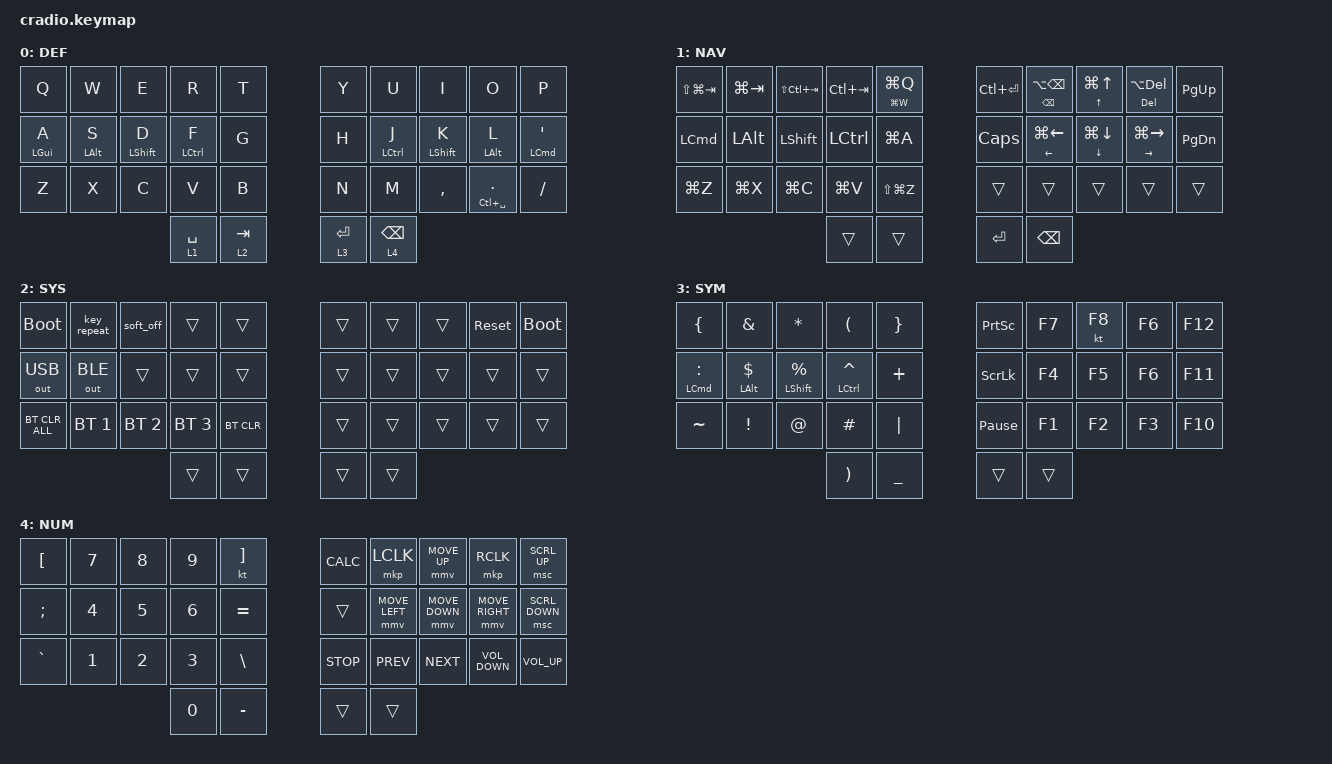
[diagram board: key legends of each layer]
#define ZMK_POINTING_DEFAULT_MOVE_VAL 1500  // default: 600
#define ZMK_POINTING_DEFAULT_SCRL_VAL 20    // default: 10

#include <behaviors.dtsi>
#include <dt-bindings/zmk/bt.h>
#include <dt-bindings/zmk/keys.h>
#include <dt-bindings/zmk/outputs.h>
#include <dt-bindings/zmk/pointing.h>

/ {
    behaviors {
        asl: alpha_shift_l {
            compatible = "zmk,behavior-hold-tap";
            label = "ASL";
            bindings = <&kp>, <&kp>;

            #binding-cells = <2>;
            tapping-term-ms = <200>;
            quick-tap-ms = <175>;
            flavor = "tap-preferred";
            hold-trigger-key-positions = <32 33>;
            hold-trigger-on-release;
        };

        asr: alpha_shift_r {
            compatible = "zmk,behavior-hold-tap";
            label = "ASR";
            bindings = <&kp>, <&kp>;

            #binding-cells = <2>;
            hold-trigger-key-positions = <30 31>;
            tapping-term-ms = <200>;
            quick-tap-ms = <175>;
            flavor = "tap-preferred";
            hold-trigger-on-release;
        };

        aml: alpha_mods_l {
            compatible = "zmk,behavior-hold-tap";
            label = "AML";
            bindings = <&kp>, <&kp>;

            #binding-cells = <2>;
            tapping-term-ms = <200>;
            quick-tap-ms = <175>;
            flavor = "tap-preferred";
            hold-trigger-on-release;
            hold-trigger-key-positions = <32 33>;
        };

        amr: alpha_mods_r {
            compatible = "zmk,behavior-hold-tap";
            label = "AMR";
            bindings = <&kp>, <&kp>;

            #binding-cells = <2>;
            tapping-term-ms = <210>;
            quick-tap-ms = <175>;
            flavor = "tap-preferred";
            hold-trigger-on-release;
            hold-trigger-key-positions = <30 31>;
        };

        ht: ht {
            compatible = "zmk,behavior-hold-tap";
            label = "HT";
            bindings = <&kp>, <&kp>;

            #binding-cells = <2>;
            tapping-term-ms = <200>;
            quick-tap-ms = <175>;
        };
    };

    combos {
        compatible = "zmk,combos";

        esc {
            bindings = <&kp ESCAPE>;
            key-positions = <0 1>;
            layers = <0>;
            timeout-ms = <40>;
            require-prior-idle-ms = <150>;
        };

        del {
            bindings = <&kp DEL>;
            key-positions = <8 9>;
            timeout-ms = <40>;
            require-prior-idle-ms = <150>;
            layers = <0>;
        };

        star {
            bindings = <&kp STAR>;
            key-positions = <2 3>;
            timeout-ms = <40>;
            require-prior-idle-ms = <150>;
            layers = <0>;
        };

        slash {
            bindings = <&kp SLASH>;
            key-positions = <12 13>;
            timeout-ms = <40>;
            require-prior-idle-ms = <150>;
            layers = <0>;
        };

        mute {
            bindings = <&kp C_MUTE>;
            key-positions = <28 29>;
            layers = <4>;
            timeout-ms = <100>;
            require-prior-idle-ms = <100>;
        };
    };

    keymap {
        compatible = "zmk,keymap";

        DEF {
            bindings = <
&kp Q            &kp W        &kp E         &kp R         &kp T        &kp Y      &kp U            &kp I         &kp O                 &kp P
&aml LEFT_GUI A  &aml LALT S  &asl LSHFT D  &aml LCTRL F  &kp G        &kp H      &amr LCTRL J     &asr LSHFT K  &amr LALT L           &amr LCMD SQT
&kp Z            &kp X        &kp C         &kp V         &kp B        &kp N      &kp M            &kp COMMA     &ht LC(SPACE) PERIOD  &kp SLASH
                                            &lt 1 SPACE   &lt 2 TAB    &lt 3 RET  &lt 4 BACKSPACE
            >;
        };

        NAV {
            bindings = <
&kp LS(LG(TAB))  &kp LG(TAB)   &kp LS(LC(TAB))  &kp LC(TAB)  &ht LG(W) LG(Q)    &kp LC(ENTER)  &ht BSPC LA(BSPC)  &ht UP LG(UP)      &ht DEL LA(DEL)      &kp PAGE_UP
&kp LCMD         &kp LEFT_ALT  &kp LEFT_SHIFT   &kp LCTRL    &kp LG(A)          &kp CAPS       &ht LEFT LG(LEFT)  &ht DOWN LG(DOWN)  &ht RIGHT LG(RIGHT)  &kp PAGE_DOWN
&kp LG(Z)        &kp LG(X)     &kp LG(C)        &kp LG(V)    &kp LS(LG(Z))      &trans         &trans             &trans             &trans               &trans
                                                &trans       &trans             &kp ENTER      &kp BSPC
            >;
        };

        SYS {
            bindings = <
&bootloader     &key_repeat   &soft_off     &trans        &trans        &trans  &trans  &trans  &sys_reset  &bootloader
&out OUT_USB    &out OUT_BLE  &trans        &trans        &trans        &trans  &trans  &trans  &trans      &trans
&bt BT_CLR_ALL  &bt BT_SEL 1  &bt BT_SEL 2  &bt BT_SEL 3  &bt BT_CLR    &trans  &trans  &trans  &trans      &trans
                                            &trans        &trans        &trans  &trans
            >;
        };

        SYM {
            bindings = <
&kp LBRC        &kp AMPS       &kp STAR         &kp LPAR         &kp RBRC     &kp PRINTSCREEN  &kp F7  &kt F8  &kp F6  &kp F12
&ht LCMD COLON  &ht LALT DLLR  &ht LSHFT PRCNT  &ht LCTRL CARET  &kp PLUS     &kp SCROLLLOCK   &kp F4  &kp F5  &kp F6  &kp F11
&kp TILDE       &kp EXCL       &kp AT           &kp HASH         &kp PIPE     &kp PAUSE_BREAK  &kp F1  &kp F2  &kp F3  &kp F10
                                                &kp RPAR         &kp UNDER    &trans           &trans
            >;
        };

        NUM {
            bindings = <
&kp LBKT   &kp N7  &kp N8  &kp N9  &kt RBKT     &kp K_CALC  &mkp LCLK       &mmv MOVE_UP    &mkp RCLK          &msc SCRL_UP
&kp SEMI   &kp N4  &kp N5  &kp N6  &kp EQUAL    &trans      &mmv MOVE_LEFT  &mmv MOVE_DOWN  &mmv MOVE_RIGHT    &msc SCRL_DOWN
&kp GRAVE  &kp N1  &kp N2  &kp N3  &kp BSLH     &kp C_STOP  &kp C_PREV      &kp C_NEXT      &kp C_VOLUME_DOWN  &kp C_VOLUME_UP
                           &kp N0  &kp MINUS    &trans      &trans
            >;
        };
    };
};
